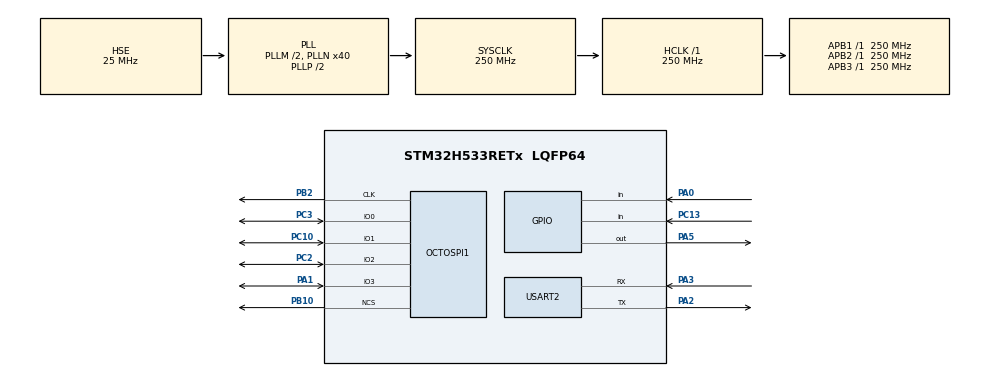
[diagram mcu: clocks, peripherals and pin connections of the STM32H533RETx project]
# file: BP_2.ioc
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BOOTPATH.BootPathName=LEGACY
BOOTPATH.UserSelectedBootPath=LEGACY
CORTEX_M33_NS.userName=CORTEX_M33
Mcu.Family=STM32H5
Mcu.Name=STM32H533RETx
Mcu.Package=LQFP64
NVIC.PriorityGroup=NVIC_PRIORITYGROUP_4
OCTOSPI1.ChipSelectBoundary=HAL_XSPI_BONDARYOF_128MB
OCTOSPI1.ChipSelectHighTimeCycle=1
OCTOSPI1.ClockMode=HAL_XSPI_CLOCK_MODE_0
OCTOSPI1.ClockPrescaler=1
OCTOSPI1.DelayHoldQuarterCycle=HAL_XSPI_DHQC_DISABLE
OCTOSPI1.FifoThresholdByte=31
OCTOSPI1.FreeRunningClock=HAL_XSPI_FREERUNCLK_DISABLE
OCTOSPI1.MemorySize=HAL_XSPI_SIZE_64MB
OCTOSPI1.MemoryType=HAL_XSPI_MEMTYPE_MICRON
OCTOSPI1.Refresh=0
PA0.Signal=GPIO_Input
PA1.GPIO_Speed_High_Default=GPIO_SPEED_FREQ_VERY_HIGH
PA1.Mode=OCTOSPI1_IO[3\:0]
PA1.Signal=OCTOSPI1_IO3
PA2.Mode=Asynchronous
PA2.Signal=USART2_TX
PA3.Mode=Asynchronous
PA3.Signal=USART2_RX
PA5.Signal=GPIO_Output
PB10.GPIO_Speed_High_Default=GPIO_SPEED_FREQ_VERY_HIGH
PB10.Mode=quad_mode
PB10.Signal=OCTOSPI1_NCS
PB2.GPIO_Speed_High_Default=GPIO_SPEED_FREQ_VERY_HIGH
PB2.Mode=quad_mode
PB2.Signal=OCTOSPI1_CLK
PC10.GPIO_Speed_High_Default=GPIO_SPEED_FREQ_VERY_HIGH
PC10.Mode=OCTOSPI1_IO[3\:0]
PC10.Signal=OCTOSPI1_IO1
PC13.Signal=GPIO_Input
PC2.GPIO_Speed_High_Default=GPIO_SPEED_FREQ_VERY_HIGH
PC2.Mode=OCTOSPI1_IO[3\:0]
PC2.Signal=OCTOSPI1_IO2
PC3.GPIO_Speed_High_Default=GPIO_SPEED_FREQ_VERY_HIGH
PC3.Mode=OCTOSPI1_IO[3\:0]
PC3.Signal=OCTOSPI1_IO0
PH0-OSC_IN(PH0).Mode=HSE-External-Oscillator
PH0-OSC_IN(PH0).Signal=RCC_OSC_IN
PH1-OSC_OUT(PH1).Mode=HSE-External-Oscillator
PH1-OSC_OUT(PH1).Signal=RCC_OSC_OUT
ProjectManager.HeapSize=0x200
ProjectManager.StackSize=0x400
ProjectManager.TargetToolchain=STM32CubeIDE
RCC.ADCFreq_Value=250000000
RCC.AHBFreq_Value=250000000
RCC.APB1Freq_Value=250000000
RCC.APB1TimFreq_Value=250000000
RCC.APB2Freq_Value=250000000
RCC.APB2TimFreq_Value=250000000
RCC.APB3Freq_Value=250000000
RCC.CSI_VALUE=4000000
RCC.CortexFreq_Value=250000000
RCC.EPOD_VALUE=25000000
RCC.HCLKFreq_Value=250000000
RCC.HSE_VALUE=25000000
RCC.HSI48_VALUE=48000000
RCC.HSIDiv=RCC_HSI_DIV1
RCC.HSI_VALUE=64000000
RCC.LSE_VALUE=32768
RCC.LSIRC_VALUE=32000
RCC.OCTOSPIMCLockSelection=RCC_OSPICLKSOURCE_PLL2R
RCC.PLL2FRACN=0
RCC.PLL2M=5
RCC.PLL2N=48
RCC.PLL2R=10
RCC.PLL2Source=RCC_PLL2_SOURCE_HSE
RCC.PLL3FRACN=0
RCC.PLLFRACN=0
RCC.PLLM=2
RCC.PLLN=40
RCC.PLLSourceVirtual=RCC_PLL1_SOURCE_HSE
RCC.SYSCLKFreq_VALUE=250000000
RCC.SYSCLKSource=RCC_SYSCLKSOURCE_PLLCLK
RCC.USBFreq_Value=48000000
RCC.VCOOutputFreq_Value=500000000
USART2.VirtualMode-Asynchronous=VM_ASYNC
VP_BOOTPATH_VS_BOOTPATH.Mode=BP_Activate
VP_CORTEX_M33_NS_VS_Hclk.Mode=Hclk_Mode
VP_MEMORYMAP_VS_MEMORYMAP.Mode=CurAppReg
VP_PWR_VS_LPOM.Mode=PowerOptimisation
VP_PWR_VS_SECSignals.Mode=Security/Privilege
board=custom

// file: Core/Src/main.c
/* USER CODE BEGIN Header */
/**
  ******************************************************************************
  * @file           : main.c
  * @brief          : Main program body
  ******************************************************************************
  * @attention
  *
  * Copyright (c) 2025 STMicroelectronics.
  * All rights reserved.
  *
  * This software is licensed under terms that can be found in the LICENSE file
  * in the root directory of this software component.
  * If no LICENSE file comes with this software, it is provided AS-IS.
  *
  ******************************************************************************
  */
/* USER CODE END Header */
#include "main.h"

/* USER CODE BEGIN Includes */
#include <string.h>
#include <stdlib.h>
#include <stdio.h>
#include "my_hal.h"
#include "my_spi.h"

/* USER CODE END Includes */

/* USER CODE BEGIN PD */

#define WRITE_READ_SEQ_SINGLE_1
#define TEST_ERASE_COMMAND
#define TEST_READ_COMMAND

/* USER CODE END PD */

XSPI_HandleTypeDef hospi1;

UART_HandleTypeDef huart2;

void SystemClock_Config(void);
static void MX_GPIO_Init(void);
static void MX_USART2_UART_Init(void);
static void MX_OCTOSPI1_Init(void);

int main(void)
{

  /* USER CODE BEGIN 1 */

	uint8_t spi_read_buffer_1[257];
	uint8_t spi_write_buffer_1[257];

  /* USER CODE END 1 */

  /* MCU Configuration--------------------------------------------------------*/

  /* Reset of all peripherals, Initializes the Flash interface and the Systick. */
  HAL_Init();

  /* Configure the system clock */
  SystemClock_Config();

  /* Initialize all configured peripherals */
  MX_GPIO_Init();
  MX_USART2_UART_Init();
  MX_OCTOSPI1_Init();

  /* Infinite loop */
  /* USER CODE BEGIN WHILE */
  HAL_Delay(2000);
  uart_print((uint8_t *)"\r\nInitializing\r\n", &huart2);

  if(hospi1.State == HAL_XSPI_STATE_READY){
	  uart_print((uint8_t *)"HAL OK\r\n", &huart2);
  }else{
	  uart_print((uint8_t *)"HAL NOT OK\r\n", &huart2);
  }

  uart_print((uint8_t *) "Reset device\r\n", &huart2);
  check_spi_return(reset(&hospi1));

  /*uart_print((uint8_t *)"Setting QE bit \r\n", &huart2);
  check_spi_return(set_QE(&hospi1));*/

  uint32_t address = 0x100;
  while (1)
  {

	  while(1){

	  }

#ifdef TEST_ERASE_COMMAND
	  uart_print((uint8_t *)"Test erase commands\r\n", &huart2);
	  fill_page_buffer_1(0b01010101, spi_write_buffer_1); // Fill page buffer
	  get_HAL_error(chip_erase(&hospi1), &huart2);
	  uart_print((uint8_t *)"\r\n\r\nSector erase\r\n", &huart2);
	  address = 0;
	  while(address < 0xfff){
		  get_HAL_error(write_256_bytes_single(spi_write_buffer_1, &hospi1, address), &huart2);
		  uart_print((uint8_t *) "\r\n", &huart2);
		  address += 256;
	  }
	  get_HAL_error(flush_buffer(&hospi1), &huart2);
	  address = 0;
	  get_HAL_error(test_sector_erase(&hospi1, address, &huart2), &huart2);
	  HAL_Delay(2000);
	  uart_print((uint8_t *)"\r\n\r\nBlock Erase 32k\r\n", &huart2);
	  while(address < 0x7fff){
		  get_HAL_error(write_256_bytes_single(spi_write_buffer_1, &hospi1, address), &huart2);
		  uart_print((uint8_t *) "\r\n", &huart2);
		  address += 256;
	  }
	  get_HAL_error(flush_buffer(&hospi1), &huart2);
	  address = 0;
	  get_HAL_error(test_block_erase_32K(&hospi1, address, &huart2), &huart2);
	  HAL_Delay(2000);
	  uart_print((uint8_t *)"\r\n\r\nBlock Erase 64k\r\n", &huart2);
	  while(address < 0xffff){
		  get_HAL_error(write_256_bytes_single(spi_write_buffer_1, &hospi1, address), &huart2);
			  uart_print((uint8_t *) "\r\n", &huart2);
		  address += 256;
	  }
	  get_HAL_error(flush_buffer(&hospi1), &huart2);
	  address = 0;
	  get_HAL_error(test_block_erase_64K(&hospi1, address, &huart2), &huart2);
	  HAL_Delay(2000);
	  uart_print((uint8_t *)"\r\n\r\nChip Erase\r\n", &huart2);
	  while(address < 0x7fff00){
		  get_HAL_error(write_256_bytes_single(spi_write_buffer_1, &hospi1, address), &huart2);
		  uart_print((uint8_t *) "\r\n", &huart2);
		  address += 256;
	  }
	  get_HAL_error(flush_buffer(&hospi1), &huart2);
	  address = 0;
	  get_HAL_error(test_chip_erase(&hospi1, &huart2), &huart2);

	  while(1){}
#endif

#ifdef TEST_WRITE_COMMAND
	  fill_page_buffer_1(0b01010101, spi_write_buffer1);
	  get_HAL_error(erase_sector(&hospi, address), &huart);
	  get_HAL_error
#endif

#ifdef TEST_READ_COMMAND
    fill_page_buffer_1(0b01010101, spi_write_buffer_1);
	get_HAL_error(erase_sector(&hospi1, address), &huart2);
    get_HAL_error(test_write_n_bytes_single(16, spi_write_buffer_1, &hospi1, address, &huart2), &huart2);

    uart_print((uint8_t *)"Flush_buffer\r\n", &huart2);
    get_HAL_error(flush_buffer(&hospi1), &huart2);
    get_HAL_error(test_read_n_bytes_single(16, spi_read_buffer_1, &hospi1, address, &huart2), &huart2);
	uart_print((uint8_t *)"read from flash: \r\n", &huart2);
	uart_print(spi_read_buffer_1, &huart2);
	uart_print((uint8_t *)"\r\n", &huart2);
	memset(spi_read_buffer_1, 0, 256);
    get_HAL_error(test_read_n_bytes_dual_1(16, spi_read_buffer_1, &hospi1, address, &huart2), &huart2);
	uart_print((uint8_t *)"read from flash: \r\n", &huart2);
	uart_print(spi_read_buffer_1, &huart2);
	uart_print((uint8_t *)"\r\n", &huart2);
	memset(spi_read_buffer_1, 0, 256);
	get_HAL_error(test_read_n_bytes_dual_2(16, spi_read_buffer_1, &hospi1, address, &huart2), &huart2);
	uart_print((uint8_t *)"read from flash: \r\n", &huart2);
	uart_print(spi_read_buffer_1, &huart2);
	uart_print((uint8_t *)"\r\n", &huart2);
	memset(spi_read_buffer_1, 0, 256);
	get_HAL_error(test_read_n_bytes_quad_4(16, spi_read_buffer_1, &hospi1, address, &huart2), &huart2);
	uart_print((uint8_t *)"read from flash: \r\n", &huart2);
	uart_print(spi_read_buffer_1, &huart2);
	uart_print((uint8_t *)"\r\n", &huart2);
	memset(spi_read_buffer_1, 0, 256);
	get_HAL_error(test_read_n_bytes_quad_3(16, spi_read_buffer_1, &hospi1, address, &huart2), &huart2);
	uart_print((uint8_t *)"read from flash: \r\n", &huart2);
	uart_print(spi_read_buffer_1, &huart2);
	uart_print((uint8_t *)"\r\n", &huart2);
	memset(spi_read_buffer_1, 0, 256);
	while(1){}

    get_HAL_error(test_read_n_bytes_quad_1(16, spi_read_buffer_1, &hospi1, address, &huart2), &huart2);
    uart_print((uint8_t *)"read from flash: \r\n", &huart2);
   	uart_print(spi_read_buffer_1, &huart2);
   	uart_print((uint8_t *)"\r\n", &huart2);
   	memset(spi_read_buffer_1, 0, 256);
    get_HAL_error(test_read_n_bytes_quad_2(16, spi_read_buffer_1, &hospi1, address, &huart2), &huart2);
    uart_print((uint8_t *)"read from flash: \r\n", &huart2);
   	uart_print(spi_read_buffer_1, &huart2);
   	uart_print((uint8_t *)"\r\n", &huart2);
   	memset(spi_read_buffer_1, 0, 256);

#endif
      /* while(1){

	  octo_spi_return = HAL_XSPI_Command(&hospi1, &spi_command, 60000);

	  uart_print("Cmd Init\r\n", &huart2);
	  get_HAL_error(octo_spi_return, &huart2);
	  octo_spi_return = HAL_XSPI_Transmit(&hospi1, spi_buf, 5000);
	  get_HAL_error(octo_spi_return, &huart2);
	  HAL_Delay(1000);

	  }*/
	  //dummy_buf = itoa(HAL_XSPI_GetState(&hospi1), (uint8_t *)dummy_buf, 1);
	  //uart_print((uint8_t *)dummy_buf, &huart2);
	  //HAL_Delay(1000);
#ifdef WRITE_READ_SEQ_SINGLE_1
	  for(uint8_t write_uint8_tacter = 0x01; write_uint8_tacter < 256; write_uint8_tacter++){
	  fill_page_buffer_1(write_uint8_tacter, spi_write_buffer_1);
	  uint32_t address = 0x005000;
	  uart_print((uint8_t *)"\r\nWrite\r\n", &huart2);
	  get_HAL_error(write_page(spi_write_buffer_1, &hospi1, address), &huart2);
	  HAL_Delay(2500);
	  uart_print((uint8_t *)"\r\nRead\r\n", &huart2);
	  get_HAL_error(read_page(spi_read_buffer_1, &hospi1, address), &huart2);
	  HAL_Delay(2500);
	  uart_print((uint8_t *)"\r\nErase\r\n", &huart2);
	  get_HAL_error(erase_sector(&hospi1, address), &huart2);
	  HAL_Delay(2500);
	  uart_print((uint8_t *)"\r\nRead\r\n", &huart2);
	  get_HAL_error(read_page(spi_read_buffer_1, &hospi1, address), &huart2);
	  HAL_Delay(2500);
	  }

#endif
#ifdef WRITE_READ_SEQ_DUAL_1
	  for(uint8_t write_character = 0x01; write_character < 256; write_character++){
	  fill_page_buffer_1(write_uint8_tacter, spi_write_buffer_1);
	  uint32_t address = 0x001000;
	  uart_print("\r\nWrite\r\n", &huart2);
	  get_HAL_error(dual_write(spi_write_buffer_1, &hospi1, address), &huart2);
	  HAL_Delay(2500);
	  uart_print("\r\nRead\r\n", &huart2);
	  get_HAL_error(read_page(spi_read_buffer_1, &hospi1, address), &huart2);
	  HAL_Delay(2500);
	  uart_print("\r\nErase\r\n", &huart2);
	  get_HAL_error(erase_sector(&hospi1, address), &huart2);
	  HAL_Delay(2500);
	  uart_print("\r\nRead\r\n", &huart2);
	  get_HAL_error(read_page(spi_read_buffer_1, &hospi1, address), &huart2);
	  HAL_Delay(2500);
	  }
#endif
#ifdef WRITE_READ_SEQ_QUAD_1
	  for(uint8_t write_character = 0x01; write_character < 256; write_character++){
	  	  fill_page_buffer_1(write_character, spi_write_buffer_1);
	  	  uint32_t address = 0x001000;
	  	  uart_print("\r\nWrite\r\n", &huart2);
	  	  get_HAL_error(quad_write(spi_write_buffer_1, &hospi1, address), &huart2);
	  	  HAL_Delay(2500);
	  	  uart_print("\r\nRead\r\n", &huart2);
	  	  get_HAL_error(read_page(spi_read_buffer_1, &hospi1, address), &huart2);
	  	  HAL_Delay(2500);
	  	  uart_print("\r\nErase\r\n", &huart2);
	  	  get_HAL_error(erase_sector(&hospi1, address), &huart2);
	  	  HAL_Delay(2500);
	  	  uart_print("\r\nRead\r\n", &huart2);
	  	  get_HAL_error(read_page(spi_read_buffer_1, &hospi1, address), &huart2);
	  	  HAL_Delay(2500);
	  	  }
#endif
#ifdef READ_DEVICE_INFO // Code for reading device id
	  uart_print("\r\nSignature\r\n", &huart2);
	  octo_spi_return = read_electronic_signature((char *)spi_buf, &hospi1);
	  get_HAL_error(octo_spi_return, &huart2);
	  HAL_Delay(5000);
	  uart_print("\r\nDevice_id\r\n", &huart2);
	  octo_spi_return = read_device_id((char *)spi_buf, &hospi1);
	  get_HAL_error(octo_spi_return, &huart2);

#endif
	  //HAL_GPIO_WritePin(GPIOB, GPIO_PIN_10, GPIO_PIN_RESET);
	  //hospi1.State = HAL_XSPI_STATE_CMD_CFG;
	  HAL_Delay(5000);
    /* USER CODE END WHILE */

  }
}

void SystemClock_Config(void)
{
  RCC_OscInitTypeDef RCC_OscInitStruct = {0};
  RCC_ClkInitTypeDef RCC_ClkInitStruct = {0};

  /** Configure the main internal regulator output voltage
  */
  __HAL_PWR_VOLTAGESCALING_CONFIG(PWR_REGULATOR_VOLTAGE_SCALE0);

  while(!__HAL_PWR_GET_FLAG(PWR_FLAG_VOSRDY)) {}

  /** Initializes the RCC Oscillators according to the specified parameters
  * in the RCC_OscInitTypeDef structure.
  */
  RCC_OscInitStruct.OscillatorType = RCC_OSCILLATORTYPE_HSE;
  RCC_OscInitStruct.HSEState = RCC_HSE_ON;
  RCC_OscInitStruct.PLL.PLLState = RCC_PLL_ON;
  RCC_OscInitStruct.PLL.PLLSource = RCC_PLL1_SOURCE_HSE;
  RCC_OscInitStruct.PLL.PLLM = 2;
  RCC_OscInitStruct.PLL.PLLN = 40;
  RCC_OscInitStruct.PLL.PLLP = 2;
  RCC_OscInitStruct.PLL.PLLQ = 2;
  RCC_OscInitStruct.PLL.PLLR = 2;
  RCC_OscInitStruct.PLL.PLLRGE = RCC_PLL1_VCIRANGE_3;
  RCC_OscInitStruct.PLL.PLLVCOSEL = RCC_PLL1_VCORANGE_WIDE;
  RCC_OscInitStruct.PLL.PLLFRACN = 0;
  if (HAL_RCC_OscConfig(&RCC_OscInitStruct) != HAL_OK)
  {
    Error_Handler();
  }

  /** Initializes the CPU, AHB and APB buses clocks
  */
  RCC_ClkInitStruct.ClockType = RCC_CLOCKTYPE_HCLK|RCC_CLOCKTYPE_SYSCLK
                              |RCC_CLOCKTYPE_PCLK1|RCC_CLOCKTYPE_PCLK2
                              |RCC_CLOCKTYPE_PCLK3;
  RCC_ClkInitStruct.SYSCLKSource = RCC_SYSCLKSOURCE_PLLCLK;
  RCC_ClkInitStruct.AHBCLKDivider = RCC_SYSCLK_DIV1;
  RCC_ClkInitStruct.APB1CLKDivider = RCC_HCLK_DIV1;
  RCC_ClkInitStruct.APB2CLKDivider = RCC_HCLK_DIV1;
  RCC_ClkInitStruct.APB3CLKDivider = RCC_HCLK_DIV1;

  if (HAL_RCC_ClockConfig(&RCC_ClkInitStruct, FLASH_LATENCY_5) != HAL_OK)
  {
    Error_Handler();
  }

  /** Configure the programming delay
  */
  __HAL_FLASH_SET_PROGRAM_DELAY(FLASH_PROGRAMMING_DELAY_2);
}

static void MX_OCTOSPI1_Init(void)
{

  /* OCTOSPI1 parameter configuration*/
  hospi1.Instance = OCTOSPI1;
  hospi1.Init.FifoThresholdByte = 31;
  hospi1.Init.MemoryMode = HAL_XSPI_SINGLE_MEM;
  hospi1.Init.MemoryType = HAL_XSPI_MEMTYPE_MICRON;
  hospi1.Init.MemorySize = HAL_XSPI_SIZE_64MB;
  hospi1.Init.ChipSelectHighTimeCycle = 1;
  hospi1.Init.FreeRunningClock = HAL_XSPI_FREERUNCLK_DISABLE;
  hospi1.Init.ClockMode = HAL_XSPI_CLOCK_MODE_0;
  hospi1.Init.WrapSize = HAL_XSPI_WRAP_NOT_SUPPORTED;
  hospi1.Init.ClockPrescaler = 1;
  hospi1.Init.SampleShifting = HAL_XSPI_SAMPLE_SHIFT_NONE;
  hospi1.Init.DelayHoldQuarterCycle = HAL_XSPI_DHQC_DISABLE;
  hospi1.Init.ChipSelectBoundary = HAL_XSPI_BONDARYOF_128MB;
  hospi1.Init.DelayBlockBypass = HAL_XSPI_DELAY_BLOCK_BYPASS;
  hospi1.Init.Refresh = 0;
  if (HAL_XSPI_Init(&hospi1) != HAL_OK)
  {
    Error_Handler();
  }

}

static void MX_USART2_UART_Init(void)
{

  huart2.Instance = USART2;
  huart2.Init.BaudRate = 115200;
  huart2.Init.WordLength = UART_WORDLENGTH_8B;
  huart2.Init.StopBits = UART_STOPBITS_1;
  huart2.Init.Parity = UART_PARITY_NONE;
  huart2.Init.Mode = UART_MODE_TX_RX;
  huart2.Init.HwFlowCtl = UART_HWCONTROL_NONE;
  huart2.Init.OverSampling = UART_OVERSAMPLING_16;
  huart2.Init.OneBitSampling = UART_ONE_BIT_SAMPLE_DISABLE;
  huart2.Init.ClockPrescaler = UART_PRESCALER_DIV1;
  huart2.AdvancedInit.AdvFeatureInit = UART_ADVFEATURE_NO_INIT;
  if (HAL_UART_Init(&huart2) != HAL_OK)
  {
    Error_Handler();
  }
  if (HAL_UARTEx_SetTxFifoThreshold(&huart2, UART_TXFIFO_THRESHOLD_1_8) != HAL_OK)
  {
    Error_Handler();
  }
  if (HAL_UARTEx_SetRxFifoThreshold(&huart2, UART_RXFIFO_THRESHOLD_1_8) != HAL_OK)
  {
    Error_Handler();
  }
  if (HAL_UARTEx_DisableFifoMode(&huart2) != HAL_OK)
  {
    Error_Handler();
  }

}

static void MX_GPIO_Init(void)
{
  GPIO_InitTypeDef GPIO_InitStruct = {0};

  /* GPIO Ports Clock Enable */
  __HAL_RCC_GPIOC_CLK_ENABLE();
  __HAL_RCC_GPIOH_CLK_ENABLE();
  __HAL_RCC_GPIOA_CLK_ENABLE();
  __HAL_RCC_GPIOB_CLK_ENABLE();

  /*Configure GPIO pin Output Level */
  HAL_GPIO_WritePin(GPIOA, GPIO_PIN_5, GPIO_PIN_RESET);

  /*Configure GPIO pin : PC13 */
  GPIO_InitStruct.Pin = GPIO_PIN_13;
  GPIO_InitStruct.Mode = GPIO_MODE_INPUT;
  GPIO_InitStruct.Pull = GPIO_NOPULL;
  HAL_GPIO_Init(GPIOC, &GPIO_InitStruct);

  /*Configure GPIO pin : PA0 */
  GPIO_InitStruct.Pin = GPIO_PIN_0;
  GPIO_InitStruct.Mode = GPIO_MODE_INPUT;
  GPIO_InitStruct.Pull = GPIO_NOPULL;
  HAL_GPIO_Init(GPIOA, &GPIO_InitStruct);

  /*Configure GPIO pin : PA5 */
  GPIO_InitStruct.Pin = GPIO_PIN_5;
  GPIO_InitStruct.Mode = GPIO_MODE_OUTPUT_PP;
  GPIO_InitStruct.Pull = GPIO_NOPULL;
  GPIO_InitStruct.Speed = GPIO_SPEED_FREQ_LOW;
  HAL_GPIO_Init(GPIOA, &GPIO_InitStruct);

}

void Error_Handler(void)
{
  __disable_irq();
  while (1)
  {
  }
}
